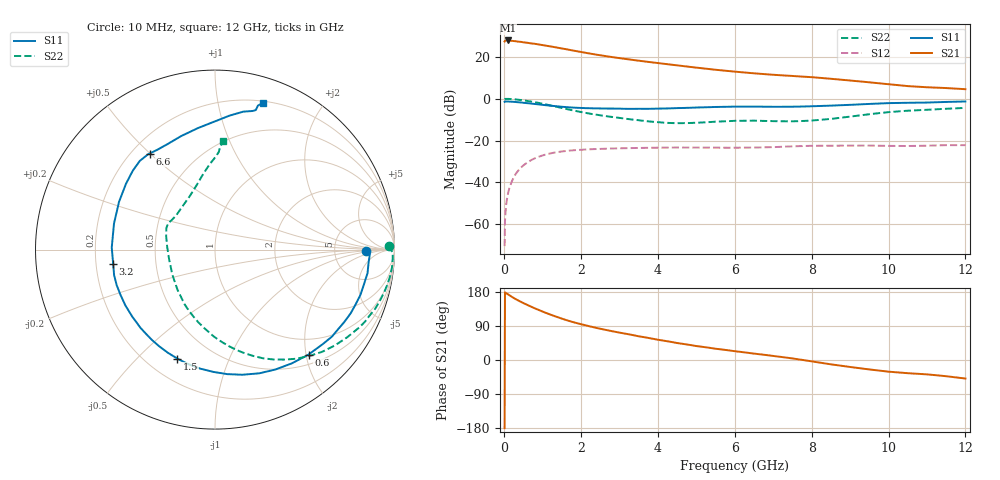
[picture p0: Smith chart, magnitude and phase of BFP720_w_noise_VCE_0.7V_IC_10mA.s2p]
! Infineon Technologies  Discrete & RF Semiconductors
! BFP720
! VCE =  0.7 V,  IC =  10 mA
! Common Emitter S-Parameters:  Aug 2012
# GHz  S  MA  R  50
!  f  S11  S21  S12  S22
! GHz  MAG  ANG  MAG  ANG  MAG  ANG  MAG  ANG
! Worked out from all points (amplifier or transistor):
!   105 points, 10 MHz to 12 GHz, reference 50 ohm
!   highest |S21| = 27.8 dB at 100 MHz (marker M1)
!   |S21| within 3 dB of that: start of sweep to 1.251 GHz
!   unconditionally stable (mu >= 1): start of sweep to 12.23 MHz; 5.643 GHz to 11.96 GHz
!   at 300 MHz: K = 0.08, MSG = 31.7 dB, |S12| = -35.9 dB
!   at 3.6 GHz: K = 0.69, MSG = 20.7 dB, |S12| = -23.5 dB
!   at 12 GHz: K = 0.99, MSG = 13.4 dB, |S12| = -22.2 dB
!   lowest NFmin = 0.53 dB at 450 MHz
!   S11 on the Smith chart (normalised r, x): 10 MHz: 12, -1; 600 MHz: 0.68, -2.05; 1.5 GHz: 0.32, -0.66; 3.2 GHz: 0.27, -0.07; 6.6 GHz: 0.27, +0.50; 12 GHz: 0.22, +1.36
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0.01  0.8431 -0.5  23.35 -179.8  0.0003 -9.5  0.9675 1.3
0.02  0.863 -1.7  24.28 178.6  0.0012 91.6  0.9897 -0.9
0.1  0.8598 -8.8  24.66 173.2  0.0055 84.5  0.9911 -5.8
0.2  0.8486 -17.3  24.14 166.6  0.0107 80.8  0.9795 -11.7
0.3  0.835 -25.2  23.65 160.7  0.016 76.4  0.9612 -17.4
0.45  0.812 -36.7  22.75 152.7  0.0233 70.3  0.9274 -25.6
0.6  0.7834 -48.3  21.71 145.4  0.0299 64.3  0.8842 -33.5
0.8  0.748 -63.3  20.48 136.2  0.0378 56.9  0.8253 -43.6
1  0.7139 -77.6  19.07 127.7  0.0442 50.1  0.7591 -53.2
1.2  0.6817 -90.7  17.79 119.9  0.0493 44.0  0.6935 -62.0
1.5  0.6428 -109.0  15.88 109.2  0.0549 36.3  0.6009 -74.0
1.8  0.614 -124.8  14.11 99.7  0.0586 30.0  0.5232 -84.7
2.1  0.5963 -137.2  12.59 92.0  0.061 25.1  0.462 -94.1
2.6  0.5839 -154.3  10.56 80.3  0.0638 18.5  0.3894 -108.4
3.2  0.573 -171.9  8.81 68.6  0.0658 12.7  0.329 -124.3
4.1  0.5823 163.1  6.931 51.8  0.0678 5.6  0.2705 -153.1
5  0.6167 143.6  5.53 36.8  0.0681 -0.1  0.2673 176.3
6.1  0.6477 129.2  4.356 22.0  0.0677 -4.1  0.2968 155.0
6.6  0.6471 124.2  3.98 15.7  0.0684 -4.9  0.2973 149.5
8.5  0.684 97.9  2.996 -11.4  0.0754 -14.0  0.3293 115.3
10.5  0.8003 74.8  2.002 -34.8  0.0741 -22.7  0.517 89.6
12  0.8599 71.9  1.689 -48.9  0.0777 -29.0  0.6044 85.7
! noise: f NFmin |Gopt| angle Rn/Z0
0.45  0.53  0.29  1  0.21
1.8  0.58  0.26  18  0.12
2.4  0.64  0.23  38  0.29
5.5  0.78  0.11  20  0.14
10  0.97  0.4  -78  0.22
